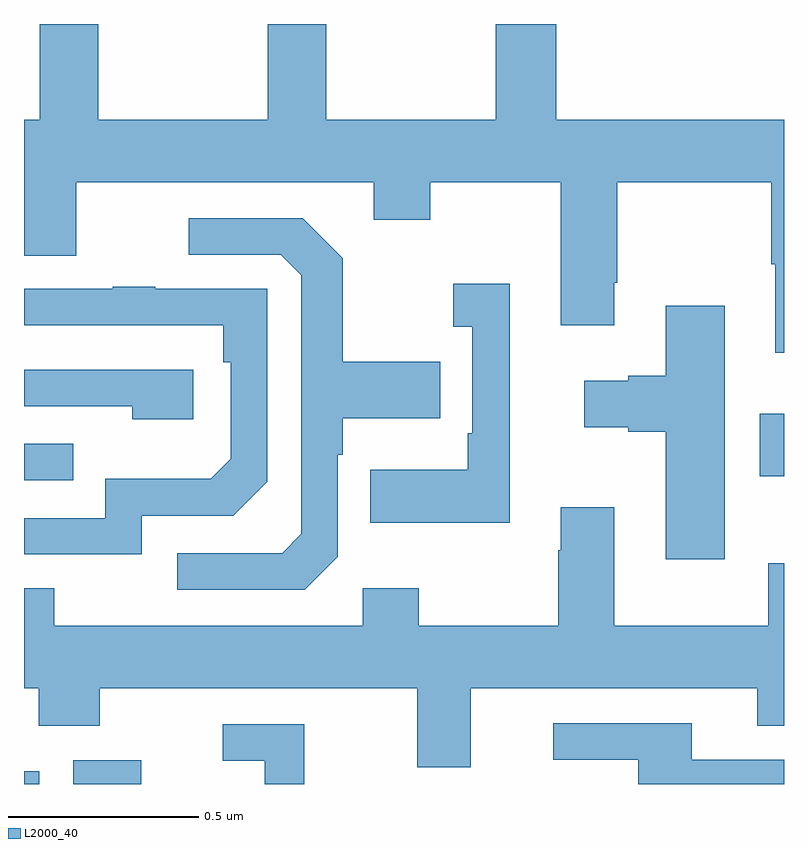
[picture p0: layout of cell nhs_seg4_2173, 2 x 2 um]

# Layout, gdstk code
import gdstk
lib = gdstk.Library(unit=1e-6, precision=1e-09)
def R(c, l, rs):  # rectangles x0, y0, x1, y1
    for r in rs: c.add(gdstk.rectangle(r[:2], r[2:], *l))
def P(c, l, *ps):  # polygons
    for p in ps: c.add(gdstk.Polygon(p, *l))
L2000_40 = (2000, 40)

nhs_seg4_2173 = lib.new_cell('nhs_seg4_2173')
R(nhs_seg4_2173, L2000_40, [(137,797.9,137.04,797.934), (137.129,797.9,137.308,797.962), (137,798.699,137.129,798.795), (138.936,798.71,139,798.874)])
P(nhs_seg4_2173, L2000_40, [(139,799.648),(138.401,799.648),(138.401,799.9),(138.241,799.9),(138.241,799.648),(137.796,799.648),(137.796,799.9),(137.641,799.9),(137.641,799.648),(137.196,799.648),(137.196,799.9),(137.041,799.9),(137.041,799.648),(137,799.648),(137,799.29),(137.137,799.29),(137.137,799.484),(137.921,799.484),(137.921,799.385),(138.069,799.385),(138.069,799.484),(138.413,799.484),(138.413,799.107),(138.553,799.107),(138.553,799.219),(138.561,799.219),(138.561,799.484),(138.967,799.484),(138.967,799.268),(138.977,799.268),(138.977,799.035),(139,799.035)],
  [(137.826,798.498),(137.826,798.767),(137.839,798.767),(137.839,798.863),(138.095,798.863),(138.095,799.011),(137.839,799.011),(137.839,799.283),(137.733,799.389),(137.433,799.389),(137.433,799.293),(137.676,799.293),(137.73,799.239),(137.73,798.558),(137.679,798.507),(137.403,798.507),(137.403,798.411),(137.739,798.411)],
  [(138.278,799.216),(138.129,799.216),(138.129,799.103),(138.18,799.103),(138.18,798.823),(138.168,798.823),(138.168,798.727),(137.911,798.727),(137.911,798.587),(138.278,798.587)],
  [(137.31,798.606),(137.55,798.606),(137.64,798.696),(137.64,799.203),(137.345,799.203),(137.345,799.208),(137.233,799.208),(137.233,799.203),(137,799.203),(137,799.107),(137.524,799.107),(137.524,799.01),(137.544,799.01),(137.544,798.756),(137.491,798.703),(137.214,798.703),(137.214,798.6),(137,798.6),(137,798.504),(137.31,798.504)],
  [(138.844,799.159),(138.689,799.159),(138.689,798.974),(138.59,798.974),(138.59,798.961),(138.474,798.961),(138.474,798.839),(138.59,798.839),(138.59,798.827),(138.689,798.827),(138.689,798.492),(138.844,798.492)],
  [(137.446,798.99),(137,798.99),(137,798.894),(137.285,798.894),(137.285,798.86),(137.446,798.86)],
  [(138.175,798.152),(138.929,798.152),(138.929,798.053),(139,798.053),(139,798.481),(138.959,798.481),(138.959,798.316),(138.553,798.316),(138.553,798.628),(138.413,798.628),(138.413,798.515),(138.406,798.515),(138.406,798.316),(138.039,798.316),(138.039,798.415),(137.892,798.415),(137.892,798.316),(137.079,798.316),(137.079,798.415),(137,798.415),(137,798.152),(137.039,798.152),(137.039,798.053),(137.199,798.053),(137.199,798.152),(138.035,798.152),(138.035,797.944),(138.175,797.944)],
  [(139,797.964),(138.757,797.964),(138.757,798.06),(138.393,798.06),(138.393,797.964),(138.617,797.964),(138.617,797.9),(139,797.9)],
  [(137.737,798.057),(137.523,798.057),(137.523,797.961),(137.633,797.961),(137.633,797.9),(137.737,797.9)])

lib.write_gds('nhs_seg4_2173.gds')
